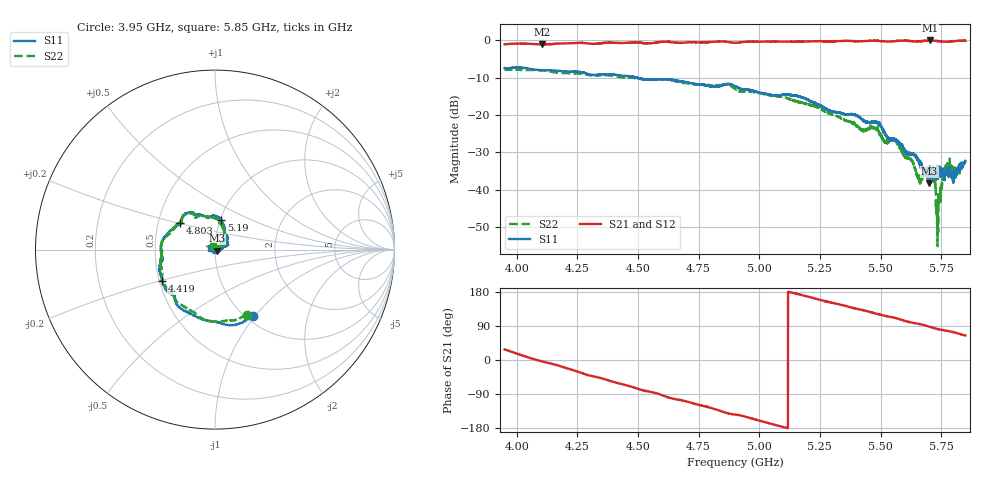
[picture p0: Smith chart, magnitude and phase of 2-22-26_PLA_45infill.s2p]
# GHZ S RI R 50.000000000000
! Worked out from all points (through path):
!   4501 points, 3.95 GHz to 5.85 GHz, reference 50 ohm
!   highest |S21| = 0.00 dB at 5.703 GHz (marker M1); lowest = -1.1 dB at 4.106 GHz (marker M2)
!   lowest |S11| = -38.3 dB at 5.702 GHz (marker M3), VSWR 1.02, Z = 51.1 - j0.581 ohm
!   |S11| at or under -10 dB: 4.49502 GHz to 4.495182 GHz (162.2 kHz wide, 0.00361 % of centre); 4.49641 GHz to 4.497457 GHz (1.047 MHz wide, 0.0233 % of centre); 4.498 GHz to end of sweep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
!   |S22| runs from -55.2 to -7.8 dB; largest |S21 - S12| = 0.048
!   S11 on the Smith chart (normalised r, x): 3.95 GHz: 1.08, -0.97; 4.419 GHz: 0.52, -0.20; 4.803 GHz: 0.65, +0.20; 5.19 GHz: 1.01, +0.34; 5.85 GHz: 0.95, +0.01
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3.95  0.2102 -0.3692  0.7845 0.4169  0.7743 0.4137  0.1756 -0.3643
4.1058  -0.0177 -0.3997  0.8819 -0.0603  0.892 -0.0542  -0.0443 -0.395
4.267089  -0.2045 -0.3151  0.7684 -0.5215  0.782 -0.5116  -0.2152 -0.2877
4.419089  -0.2944 -0.174  0.4421 -0.8137  0.4616 -0.7973  -0.2947 -0.1394
4.583756  -0.2988 -0.0139  0.0116 -0.9456  0.0335 -0.9387  -0.2983 0.00357
4.802889  -0.1933 0.1466  -0.5744 -0.765  -0.554 -0.7752  -0.1934 0.1502
4.9  -0.1282 0.2077  -0.7528 -0.5469  -0.7506 -0.5552  -0.1155 0.194
5.041444  -0.0459 0.1815  -0.9409 -0.2174  -0.936 -0.2414  -0.0318 0.1818
5.190489  0.0344 0.163  -0.9498 0.1876  -0.9535 0.1677  0.0364 0.1367
5.217089  0.0393 0.1441  -0.9392 0.2613  -0.9401 0.2359  0.042 0.1265
5.484356  0.07 0.0373  -0.525 0.839  -0.5509 0.8256  0.055 0.0354
5.533756  0.0439 0.017  -0.3997 0.8783  -0.421 0.874  0.0323 0.0305
5.626644  0.0298 0.00115  -0.154 0.9648  -0.1898 0.9591  0.0193 0.0157
5.66  0.0229 -0.00947  -0.0801 0.9697  -0.1153 0.9664  0.00966 0.00915
5.7018  0.0107 -0.00569  0.0355 0.9988  0.0107 0.9965  0.0115 0.0158
5.703489  0.0123 -0.00705  0.0423 0.9988  0.0151 0.9949  0.0106 0.015
5.718689  0.0119 -0.0108  0.092 0.9888  0.0676 0.9869  0.00923 0.0104
5.7284  0.0148 -0.00463  0.1239 0.9781  0.0971 0.979  0.00522 0.00282
5.737689  0.0103 -0.0146  0.1488 0.9674  0.1208 0.9696  0.00177 0.002
5.773156  -0.0179 -0.00057  0.2148 0.9387  0.1875 0.9366  -0.00456 0.021
5.801444  -0.0165 0.00184  0.2824 0.9427  0.2487 0.9425  -0.00171 0.0172
5.85  -0.0234 0.00651  0.4227 0.8917  0.4006 0.9054  -0.0107 0.0207
